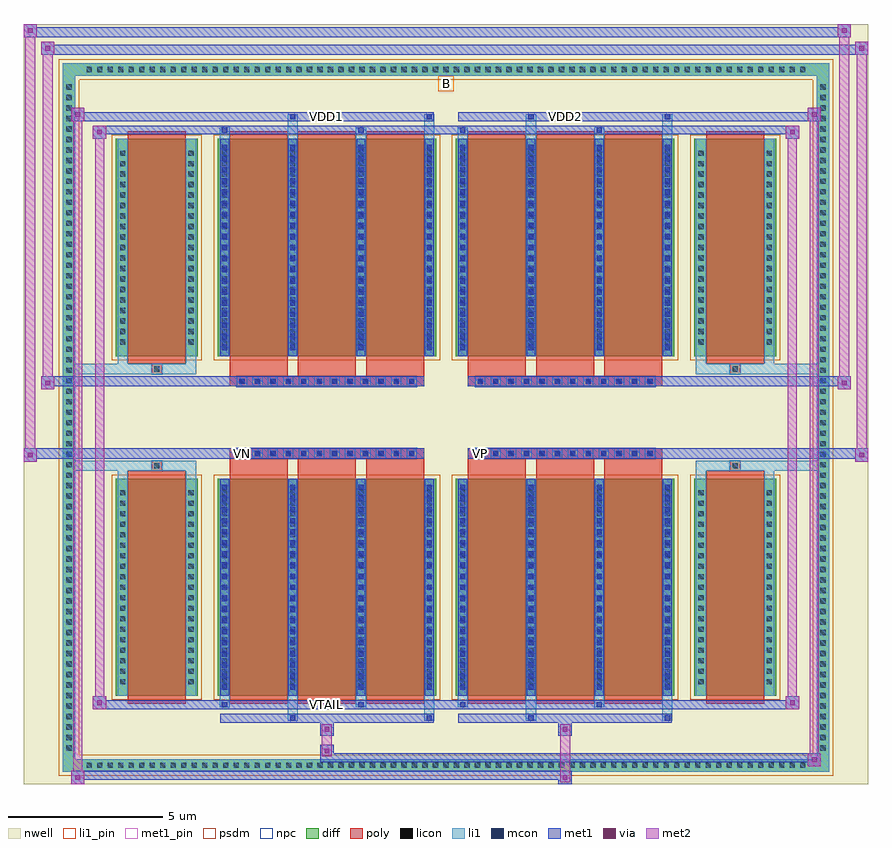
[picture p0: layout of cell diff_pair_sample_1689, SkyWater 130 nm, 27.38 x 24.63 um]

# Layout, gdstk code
import gdstk
lib = gdstk.Library(unit=1e-6, precision=5e-09)
def R(c, l, rs):  # rectangles x0, y0, x1, y1
    for r in rs: c.add(gdstk.rectangle(r[:2], r[2:], *l))
def A(c, l, x, y, w, h, nx, ny, dx, dy):  # array of equal rectangles
    R(c, l, [(x+i*dx, y+j*dy, x+i*dx+w, y+j*dy+h) for i in range(nx) for j in range(ny)])
def P(c, l, *ps):  # polygons
    for p in ps: c.add(gdstk.Polygon(p, *l))
nwell = (64, 20)
diff = (65, 20)
poly = (66, 20)
licon = (66, 44)
li1_pin = (67, 16)
li1 = (67, 20)
mcon = (67, 44)
met1_pin = (68, 16)
met1 = (68, 20)
via = (68, 44)
met2 = (69, 20)
psdm = (94, 20)
npc = (95, 20)

diff_pair_sample_1689 = lib.new_cell('diff_pair_sample_1689')
R(diff_pair_sample_1689, nwell, [(-13.69,-11.88,13.69,12.75), (-11.01,-10.07,-0.01,-0.805), (0.01,-10.07,11.01,-0.805), (-11.01,0.805,-0.01,10.07), (0.01,0.805,11.01,10.07)])
A(diff_pair_sample_1689, diff, -11.765, -11.48, 0.41, 0.41, 69, 2, 0.34, 22.55)
A(diff_pair_sample_1689, diff, -12.42, -10.915, 0.41, 0.41, 1, 64, 0, 0.34)
A(diff_pair_sample_1689, diff, 12.01, -10.915, 0.41, 0.41, 1, 64, 0, 0.34)
R(diff_pair_sample_1689, diff, [(-11.765,-11.48,11.765,-11.07), (-12.42,-10.915,-12.01,10.915), (12.01,-10.915,12.42,10.915), (-10.7,-9.025,-8.04,-1.985), (-7.4,-9.025,-0.32,-1.985), (0.32,-9.025,7.4,-1.985), (8.04,-9.025,10.7,-1.985), (-10.7,1.985,-8.04,9.025), (-7.4,1.985,-0.32,9.025), (0.32,1.985,7.4,9.025), (8.04,1.985,10.7,9.025), (-11.765,11.07,11.765,11.48)])
P(diff_pair_sample_1689, diff, [(12.42,11.48),(-12.42,11.48),(-12.42,-11.07),(-12.01,-11.07),(-12.01,11.07),(12.01,11.07),(12.01,-11.07),(-12.01,-11.07),(-12.42,-11.07),(-12.42,-11.48),(12.42,-11.48)])
A(diff_pair_sample_1689, poly, -7.01, -9.275, 1.88, 7.54, 3, 2, 2.21, 11.01)
A(diff_pair_sample_1689, poly, 0.71, -9.275, 1.88, 7.54, 3, 2, 2.21, 11.01)
A(diff_pair_sample_1689, poly, -7.01, -1.735, 1.88, 0.4, 3, 2, 2.21, 3.07)
A(diff_pair_sample_1689, poly, 0.71, -1.735, 1.88, 0.4, 3, 2, 2.21, 3.07)
A(diff_pair_sample_1689, poly, -6.775, -1.335, 0.33, 0.33, 12, 2, 0.5, 2.34)
A(diff_pair_sample_1689, poly, 0.945, -1.335, 0.33, 0.33, 12, 2, 0.5, 2.34)
R(diff_pair_sample_1689, poly, [(-10.31,-9.275,-8.43,-1.735), (8.43,-9.275,10.31,-1.735), (-9.535,-1.735,-9.205,-1.405), (-9.535,-1.735,-9.205,-1.405), (9.205,-1.735,9.535,-1.405), (9.205,-1.735,9.535,-1.405), (-7.01,-1.335,-0.71,-1.005), (0.71,-1.335,7.01,-1.005), (-7.01,1.005,-0.71,1.335), (0.71,1.005,7.01,1.335), (-9.535,1.405,-9.205,1.735), (-9.535,1.405,-9.205,1.735), (9.205,1.405,9.535,1.735), (9.205,1.405,9.535,1.735), (-10.31,1.735,-8.43,9.275), (8.43,1.735,10.31,9.275)])
A(diff_pair_sample_1689, licon, -11.645, -11.36, 0.17, 0.17, 69, 2, 0.34, 22.55)
A(diff_pair_sample_1689, licon, -12.3, -10.795, 0.17, 0.17, 1, 64, 0, 0.34)
A(diff_pair_sample_1689, licon, 12.13, -10.795, 0.17, 0.17, 1, 64, 0, 0.34)
A(diff_pair_sample_1689, licon, -10.56, -8.65, 0.17, 0.17, 1, 19, 0, 0.34)
A(diff_pair_sample_1689, licon, -8.35, -8.65, 0.17, 0.17, 1, 19, 0, 0.34)
A(diff_pair_sample_1689, licon, -7.26, -8.65, 0.17, 0.17, 4, 19, 2.21, 0.34)
A(diff_pair_sample_1689, licon, 0.46, -8.65, 0.17, 0.17, 4, 19, 2.21, 0.34)
A(diff_pair_sample_1689, licon, 8.18, -8.65, 0.17, 0.17, 1, 19, 0, 0.34)
A(diff_pair_sample_1689, licon, 10.39, -8.65, 0.17, 0.17, 1, 19, 0, 0.34)
A(diff_pair_sample_1689, licon, -6.695, -1.255, 0.17, 0.17, 12, 2, 0.5, 2.34)
A(diff_pair_sample_1689, licon, 1.025, -1.255, 0.17, 0.17, 12, 2, 0.5, 2.34)
A(diff_pair_sample_1689, licon, -10.56, 2.36, 0.17, 0.17, 1, 19, 0, 0.34)
A(diff_pair_sample_1689, licon, -8.35, 2.36, 0.17, 0.17, 1, 19, 0, 0.34)
A(diff_pair_sample_1689, licon, -7.26, 2.36, 0.17, 0.17, 4, 19, 2.21, 0.34)
A(diff_pair_sample_1689, licon, 0.46, 2.36, 0.17, 0.17, 4, 19, 2.21, 0.34)
A(diff_pair_sample_1689, licon, 8.18, 2.36, 0.17, 0.17, 1, 19, 0, 0.34)
A(diff_pair_sample_1689, licon, 10.39, 2.36, 0.17, 0.17, 1, 19, 0, 0.34)
R(diff_pair_sample_1689, licon, [(-9.455,-1.655,-9.285,-1.485), (9.285,-1.655,9.455,-1.485), (-9.455,1.485,-9.285,1.655), (9.285,1.485,9.455,1.655)])
R(diff_pair_sample_1689, li1_pin, [(-0.25,10.57,0.25,11.07)])
A(diff_pair_sample_1689, li1, -11.725, -11.44, 0.33, 0.33, 69, 2, 0.34, 22.55)
A(diff_pair_sample_1689, li1, -12.38, -10.875, 0.33, 0.33, 1, 64, 0, 0.34)
A(diff_pair_sample_1689, li1, 12.05, -10.875, 0.33, 0.33, 1, 64, 0, 0.34)
A(diff_pair_sample_1689, li1, -7.34, -9.025, 0.33, 7.04, 4, 2, 2.21, 11.01)
A(diff_pair_sample_1689, li1, 0.38, -9.025, 0.33, 7.04, 4, 2, 2.21, 11.01)
A(diff_pair_sample_1689, li1, -7.26, -8.83, 0.17, 0.17, 4, 19, 2.21, 0.36)
A(diff_pair_sample_1689, li1, -7.26, -8.83, 0.17, 6.65, 4, 2, 2.21, 11.01)
A(diff_pair_sample_1689, li1, 0.46, -8.83, 0.17, 0.17, 4, 19, 2.21, 0.36)
A(diff_pair_sample_1689, li1, 0.46, -8.83, 0.17, 6.65, 4, 2, 2.21, 11.01)
A(diff_pair_sample_1689, li1, -10.64, -8.73, 0.33, 0.33, 1, 19, 0, 0.34)
A(diff_pair_sample_1689, li1, -8.43, -8.73, 0.33, 0.33, 1, 19, 0, 0.34)
A(diff_pair_sample_1689, li1, -7.34, -8.73, 0.33, 0.33, 4, 19, 2.21, 0.34)
A(diff_pair_sample_1689, li1, 0.38, -8.73, 0.33, 0.33, 4, 19, 2.21, 0.34)
A(diff_pair_sample_1689, li1, 8.1, -8.73, 0.33, 0.33, 1, 19, 0, 0.34)
A(diff_pair_sample_1689, li1, 10.31, -8.73, 0.33, 0.33, 1, 19, 0, 0.34)
A(diff_pair_sample_1689, li1, -6.775, -1.335, 0.33, 0.33, 12, 2, 0.5, 2.34)
A(diff_pair_sample_1689, li1, 0.945, -1.335, 0.33, 0.33, 12, 2, 0.5, 2.34)
A(diff_pair_sample_1689, li1, -7.26, 2.18, 0.17, 0.17, 4, 19, 2.21, 0.36)
A(diff_pair_sample_1689, li1, 0.46, 2.18, 0.17, 0.17, 4, 19, 2.21, 0.36)
A(diff_pair_sample_1689, li1, -10.64, 2.28, 0.33, 0.33, 1, 19, 0, 0.34)
A(diff_pair_sample_1689, li1, -8.43, 2.28, 0.33, 0.33, 1, 19, 0, 0.34)
A(diff_pair_sample_1689, li1, -7.34, 2.28, 0.33, 0.33, 4, 19, 2.21, 0.34)
A(diff_pair_sample_1689, li1, 0.38, 2.28, 0.33, 0.33, 4, 19, 2.21, 0.34)
A(diff_pair_sample_1689, li1, 8.1, 2.28, 0.33, 0.33, 1, 19, 0, 0.34)
A(diff_pair_sample_1689, li1, 10.31, 2.28, 0.33, 0.33, 1, 19, 0, 0.34)
R(diff_pair_sample_1689, li1, [(-12.42,-11.48,-12.01,-11.07), (-12.42,-11.48,-12.01,-11.07), (-12.01,-11.48,12.01,-11.07), (12.01,-11.48,12.42,-11.07), (12.01,-11.48,12.42,-11.07), (-12.42,-11.07,-12.01,11.07), (12.01,-11.07,12.42,11.07), (-5.13,-9.83,-4.8,-9.025), (-5.05,-9.83,-4.88,-9.66), (-0.71,-9.83,-0.38,-9.025), (-0.63,-9.83,-0.46,-9.66), (2.59,-9.83,2.92,-9.025), (2.67,-9.83,2.84,-9.66), (7.01,-9.83,7.34,-9.025), (7.09,-9.83,7.26,-9.66), (-7.34,-9.4,-7.01,-9.025), (-7.26,-9.4,-7.09,-9.23), (-2.92,-9.4,-2.59,-9.025), (-2.84,-9.4,-2.67,-9.23), (0.38,-9.4,0.71,-9.025), (0.46,-9.4,0.63,-9.23), (4.8,-9.4,5.13,-9.025), (4.88,-9.4,5.05,-9.23), (-10.64,-9.025,-10.31,-1.985), (-8.43,-9.025,-8.1,-1.985), (8.1,-9.025,8.43,-1.985), (10.31,-9.025,10.64,-1.985), (-10.64,-1.985,-10.31,-1.405), (-8.43,-1.985,-8.1,-1.405), (8.1,-1.985,8.43,-1.405), (10.31,-1.985,10.64,-1.405), (-12.42,-1.735,-9.535,-1.405), (-10.64,-1.735,-9.535,-1.405), (-9.535,-1.735,-9.205,-1.405), (-9.205,-1.735,-8.1,-1.405), (8.1,-1.735,9.205,-1.405), (9.205,-1.735,9.535,-1.405), (9.205,-1.735,12.42,-1.405), (9.535,-1.735,10.64,-1.405), (-12.42,1.405,-9.535,1.735), (-10.64,1.405,-9.535,1.735), (-10.64,1.405,-10.31,1.985), (-9.535,1.405,-9.205,1.735), (-9.205,1.405,-8.1,1.735), (-8.43,1.405,-8.1,1.985), (8.1,1.405,9.205,1.735), (8.1,1.405,8.43,1.985), (9.205,1.405,9.535,1.735), (9.205,1.405,12.42,1.735), (9.535,1.405,10.64,1.735), (10.31,1.405,10.64,1.985), (-10.64,1.985,-10.31,9.025), (-8.43,1.985,-8.1,9.025), (8.1,1.985,8.43,9.025), (10.31,1.985,10.64,9.025), (-7.34,9.025,-7.01,9.4), (-5.13,9.025,-4.8,9.83), (-2.92,9.025,-2.59,9.4), (-0.71,9.025,-0.38,9.83), (0.38,9.025,0.71,9.4), (2.59,9.025,2.92,9.83), (4.8,9.025,5.13,9.4), (7.01,9.025,7.34,9.83), (-7.26,9.23,-7.09,9.4), (-2.84,9.23,-2.67,9.4), (0.46,9.23,0.63,9.4), (4.88,9.23,5.05,9.4), (-5.05,9.66,-4.88,9.83), (-0.63,9.66,-0.46,9.83), (2.67,9.66,2.84,9.83), (7.09,9.66,7.26,9.83), (-12.42,11.07,-12.01,11.48), (-12.42,11.07,-12.01,11.48), (-12.01,11.07,12.01,11.48), (12.01,11.07,12.42,11.48), (12.01,11.07,12.42,11.48)])
A(diff_pair_sample_1689, mcon, -7.26, -8.83, 0.17, 0.17, 4, 19, 2.21, 0.36)
A(diff_pair_sample_1689, mcon, 0.46, -8.83, 0.17, 0.17, 4, 19, 2.21, 0.36)
A(diff_pair_sample_1689, mcon, -6.695, -1.255, 0.17, 0.17, 12, 2, 0.5, 2.34)
A(diff_pair_sample_1689, mcon, 1.025, -1.255, 0.17, 0.17, 12, 2, 0.5, 2.34)
A(diff_pair_sample_1689, mcon, -7.26, 2.18, 0.17, 0.17, 4, 19, 2.21, 0.36)
A(diff_pair_sample_1689, mcon, 0.46, 2.18, 0.17, 0.17, 4, 19, 2.21, 0.36)
R(diff_pair_sample_1689, mcon, [(-5.05,-9.83,-4.88,-9.66), (-0.63,-9.83,-0.46,-9.66), (2.67,-9.83,2.84,-9.66), (7.09,-9.83,7.26,-9.66), (-7.26,-9.4,-7.09,-9.23), (-2.84,-9.4,-2.67,-9.23), (0.46,-9.4,0.63,-9.23), (4.88,-9.4,5.05,-9.23), (-7.26,9.23,-7.09,9.4), (-2.84,9.23,-2.67,9.4), (0.46,9.23,0.63,9.4), (4.88,9.23,5.05,9.4), (-5.05,9.66,-4.88,9.83), (-0.63,9.66,-0.46,9.83), (2.67,9.66,2.84,9.83), (7.09,9.66,7.26,9.83)])
R(diff_pair_sample_1689, met1_pin, [(-3.995,-9.44,-3.725,-9.17), (-6.745,-1.295,-6.475,-1.025), (0.975,-1.295,1.245,-1.025), (-3.995,9.62,-3.725,9.89), (3.725,9.62,3.995,9.89)])
A(diff_pair_sample_1689, met1, -7.32, -9.025, 0.29, 7.04, 4, 2, 2.21, 11.01)
A(diff_pair_sample_1689, met1, 0.4, -9.025, 0.29, 7.04, 4, 2, 2.21, 11.01)
A(diff_pair_sample_1689, met1, -7.32, -8.89, 0.29, 0.29, 4, 19, 2.21, 0.36)
A(diff_pair_sample_1689, met1, 0.4, -8.89, 0.29, 0.29, 4, 19, 2.21, 0.36)
A(diff_pair_sample_1689, met1, -6.755, -1.315, 0.29, 0.29, 12, 2, 0.5, 2.34)
A(diff_pair_sample_1689, met1, 0.965, -1.315, 0.29, 0.29, 12, 2, 0.5, 2.34)
A(diff_pair_sample_1689, met1, -7.32, 2.12, 0.29, 0.29, 4, 19, 2.21, 0.36)
A(diff_pair_sample_1689, met1, 0.4, 2.12, 0.29, 0.29, 4, 19, 2.21, 0.36)
R(diff_pair_sample_1689, met1, [(-12.15,-11.88,-11.72,-11.45), (3.645,-11.88,4.075,-11.45), (-12.15,-11.74,4.075,-11.45), (11.72,-11.31,12.15,-10.88), (-4.075,-11.17,12.15,-10.88), (-4.075,-11.03,-3.645,-10.6), (-4.075,-10.32,-3.645,-9.89), (3.645,-10.32,4.075,-9.89), (-7.32,-9.89,-0.4,-9.6), (-5.11,-9.89,-4.82,-9.6), (-0.69,-9.89,-0.4,-9.6), (0.4,-9.89,7.32,-9.6), (2.61,-9.89,2.9,-9.6), (7.03,-9.89,7.32,-9.6), (-11.44,-9.46,-11.01,-9.03), (-11.44,-9.46,-7.32,-9.17), (-7.32,-9.46,-7.03,-9.17), (-7.32,-9.46,-0.4,-9.17), (-2.9,-9.46,-2.61,-9.17), (-0.4,-9.46,0.4,-9.17), (0.4,-9.46,0.69,-9.17), (0.4,-9.46,7.32,-9.17), (4.82,-9.46,5.11,-9.17), (7.32,-9.46,11.44,-9.17), (11.01,-9.46,11.44,-9.03), (-13.69,-1.435,-13.26,-1.005), (13.26,-1.435,13.69,-1.005), (-13.69,-1.335,-0.71,-1.005), (-7.01,-1.335,-0.71,-1.005), (0.71,-1.335,7.01,-1.005), (0.71,-1.335,13.69,-1.005), (-13.12,0.905,-12.69,1.335), (12.69,0.905,13.12,1.335), (-13.12,1.005,-7.01,1.335), (-7.01,1.005,-0.71,1.335), (0.71,1.005,7.01,1.335), (7.01,1.005,13.12,1.335), (-11.44,9.03,-11.01,9.46), (11.01,9.03,11.44,9.46), (-11.44,9.17,-7.32,9.46), (-7.32,9.17,-7.03,9.46), (-7.32,9.17,-0.4,9.46), (-2.9,9.17,-2.61,9.46), (-0.4,9.17,0.4,9.46), (0.4,9.17,0.69,9.46), (0.4,9.17,7.32,9.46), (4.82,9.17,5.11,9.46), (7.32,9.17,11.44,9.46), (-12.15,9.6,-11.72,10.03), (-12.15,9.6,-7.32,9.89), (-7.32,9.6,-0.4,9.89), (-5.11,9.6,-4.82,9.89), (-0.69,9.6,-0.4,9.89), (0.4,9.6,7.32,9.89), (2.61,9.6,2.9,9.89), (7.03,9.6,7.32,9.89), (7.32,9.6,12.15,9.89), (11.72,9.6,12.15,10.03), (-13.12,11.75,-12.69,12.18), (-13.12,11.75,-11.01,12.08), (-11.01,11.75,11.01,12.08), (11.01,11.75,13.69,12.08), (13.26,11.75,13.69,12.18), (-13.69,12.32,-13.26,12.75), (-13.69,12.32,-11.01,12.65), (-11.01,12.32,11.01,12.65), (11.01,12.32,13.12,12.65), (12.69,12.32,13.12,12.75)])
R(diff_pair_sample_1689, via, [(-12.01,-11.74,-11.86,-11.59), (3.785,-11.74,3.935,-11.59), (11.86,-11.17,12.01,-11.02), (-3.935,-10.89,-3.785,-10.74), (-3.935,-10.18,-3.785,-10.03), (3.785,-10.18,3.935,-10.03), (-11.3,-9.32,-11.15,-9.17), (11.15,-9.32,11.3,-9.17), (-13.55,-1.295,-13.4,-1.145), (13.4,-1.295,13.55,-1.145), (-12.98,1.045,-12.83,1.195), (12.83,1.045,12.98,1.195), (-11.3,9.17,-11.15,9.32), (11.15,9.17,11.3,9.32), (-12.01,9.74,-11.86,9.89), (11.86,9.74,12.01,9.89), (-12.98,11.89,-12.83,12.04), (13.4,11.89,13.55,12.04), (-13.55,12.46,-13.4,12.61), (12.83,12.46,12.98,12.61)])
R(diff_pair_sample_1689, met2, [(-12.15,-11.88,-11.72,-11.45), (-12.08,-11.88,-11.79,10.03), (-11.79,-11.88,-11.72,-11.45), (-12.1,-11.83,-11.77,-11.5), (3.695,-11.83,4.025,-11.5), (3.695,-11.5,4.025,-10.27), (11.72,-11.31,12.15,-10.88), (11.79,-11.31,12.08,10.03), (12.08,-11.31,12.15,-10.88), (11.77,-11.26,12.1,-10.93), (-4.025,-10.98,-3.695,-10.65), (-4.025,-10.65,-3.695,-10.27), (-4.025,-10.27,-3.695,-9.94), (3.695,-10.27,4.025,-9.94), (-11.44,-9.46,-11.01,-9.03), (-11.37,-9.46,-11.08,9.46), (-11.08,-9.46,-11.01,-9.03), (11.01,-9.46,11.44,-9.03), (11.08,-9.46,11.37,9.46), (11.37,-9.46,11.44,-9.03), (-11.39,-9.41,-11.06,-9.08), (11.06,-9.41,11.39,-9.08), (-13.69,-1.435,-13.26,-1.005), (-13.64,-1.435,-13.31,12.75), (-13.31,-1.435,-13.26,-1.005), (13.26,-1.435,13.69,-1.005), (13.31,-1.435,13.64,12.18), (13.64,-1.435,13.69,-1.005), (-13.64,-1.385,-13.31,-1.055), (13.31,-1.385,13.64,-1.055), (-13.12,0.905,-12.69,1.335), (-13.07,0.905,-12.74,12.18), (-12.74,0.905,-12.69,1.335), (12.69,0.905,13.12,1.335), (12.74,0.905,13.07,12.75), (13.07,0.905,13.12,1.335), (-13.07,0.955,-12.74,1.285), (12.74,0.955,13.07,1.285), (-11.44,9.03,-11.01,9.46), (-11.08,9.03,-11.01,9.46), (11.01,9.03,11.44,9.46), (11.37,9.03,11.44,9.46), (-11.39,9.08,-11.06,9.41), (11.06,9.08,11.39,9.41), (-12.15,9.6,-11.72,10.03), (-11.79,9.6,-11.72,10.03), (11.72,9.6,12.15,10.03), (12.08,9.6,12.15,10.03), (-12.1,9.65,-11.77,9.98), (11.77,9.65,12.1,9.98), (-13.12,11.75,-12.69,12.18), (-12.74,11.75,-12.69,12.18), (13.26,11.75,13.69,12.18), (13.64,11.75,13.69,12.18), (-13.07,11.8,-12.74,12.13), (13.31,11.8,13.64,12.13), (-13.69,12.32,-13.26,12.75), (-13.31,12.32,-13.26,12.75), (12.69,12.32,13.12,12.75), (13.07,12.32,13.12,12.75), (-13.64,12.37,-13.31,12.7), (12.74,12.37,13.07,12.7)])
R(diff_pair_sample_1689, psdm, [(-10.83,-9.155,-7.91,-1.855), (-7.53,-9.155,-0.19,-1.855), (0.19,-9.155,7.53,-1.855), (7.91,-9.155,10.83,-1.855), (-10.83,1.855,-7.91,9.155), (-7.53,1.855,-0.19,9.155), (0.19,1.855,7.53,9.155), (7.91,1.855,10.83,9.155)])
P(diff_pair_sample_1689, psdm, [(12.55,11.61),(-12.55,11.61),(-12.55,-10.94),(-11.88,-10.94),(-11.88,10.94),(11.88,10.94),(11.88,-10.94),(-11.88,-10.94),(-12.55,-10.94),(-12.55,-11.61),(12.55,-11.61)])
A(diff_pair_sample_1689, npc, -6.795, -1.355, 0.37, 0.37, 12, 2, 0.5, 2.34)
A(diff_pair_sample_1689, npc, 0.925, -1.355, 0.37, 0.37, 12, 2, 0.5, 2.34)
R(diff_pair_sample_1689, npc, [(-9.555,-1.755,-9.185,-1.385), (9.185,-1.755,9.555,-1.385), (-6.795,-1.355,-5.925,-0.985), (-6.795,-1.355,-5.925,-0.985), (-6.295,-1.355,-5.425,-0.985), (-6.295,-1.355,-5.425,-0.985), (-5.795,-1.355,-4.925,-0.985), (-5.795,-1.355,-4.925,-0.985), (-5.295,-1.355,-4.425,-0.985), (-5.295,-1.355,-4.425,-0.985), (-4.795,-1.355,-3.925,-0.985), (-4.795,-1.355,-3.925,-0.985), (-4.295,-1.355,-3.425,-0.985), (-4.295,-1.355,-3.425,-0.985), (-3.795,-1.355,-2.925,-0.985), (-3.795,-1.355,-2.925,-0.985), (-3.295,-1.355,-2.425,-0.985), (-3.295,-1.355,-2.425,-0.985), (-2.795,-1.355,-1.925,-0.985), (-2.795,-1.355,-1.925,-0.985), (-2.295,-1.355,-1.425,-0.985), (-2.295,-1.355,-1.425,-0.985), (-1.795,-1.355,-0.925,-0.985), (-1.795,-1.355,-0.925,-0.985), (0.925,-1.355,1.795,-0.985), (0.925,-1.355,1.795,-0.985), (1.425,-1.355,2.295,-0.985), (1.425,-1.355,2.295,-0.985), (1.925,-1.355,2.795,-0.985), (1.925,-1.355,2.795,-0.985), (2.425,-1.355,3.295,-0.985), (2.425,-1.355,3.295,-0.985), (2.925,-1.355,3.795,-0.985), (2.925,-1.355,3.795,-0.985), (3.425,-1.355,4.295,-0.985), (3.425,-1.355,4.295,-0.985), (3.925,-1.355,4.795,-0.985), (3.925,-1.355,4.795,-0.985), (4.425,-1.355,5.295,-0.985), (4.425,-1.355,5.295,-0.985), (4.925,-1.355,5.795,-0.985), (4.925,-1.355,5.795,-0.985), (5.425,-1.355,6.295,-0.985), (5.425,-1.355,6.295,-0.985), (5.925,-1.355,6.795,-0.985), (5.925,-1.355,6.795,-0.985), (-6.795,0.985,-5.925,1.355), (-6.795,0.985,-5.925,1.355), (-6.295,0.985,-5.425,1.355), (-6.295,0.985,-5.425,1.355), (-5.795,0.985,-4.925,1.355), (-5.795,0.985,-4.925,1.355), (-5.295,0.985,-4.425,1.355), (-5.295,0.985,-4.425,1.355), (-4.795,0.985,-3.925,1.355), (-4.795,0.985,-3.925,1.355), (-4.295,0.985,-3.425,1.355), (-4.295,0.985,-3.425,1.355), (-3.795,0.985,-2.925,1.355), (-3.795,0.985,-2.925,1.355), (-3.295,0.985,-2.425,1.355), (-3.295,0.985,-2.425,1.355), (-2.795,0.985,-1.925,1.355), (-2.795,0.985,-1.925,1.355), (-2.295,0.985,-1.425,1.355), (-2.295,0.985,-1.425,1.355), (-1.795,0.985,-0.925,1.355), (-1.795,0.985,-0.925,1.355), (0.925,0.985,1.795,1.355), (0.925,0.985,1.795,1.355), (1.425,0.985,2.295,1.355), (1.425,0.985,2.295,1.355), (1.925,0.985,2.795,1.355), (1.925,0.985,2.795,1.355), (2.425,0.985,3.295,1.355), (2.425,0.985,3.295,1.355), (2.925,0.985,3.795,1.355), (2.925,0.985,3.795,1.355), (3.425,0.985,4.295,1.355), (3.425,0.985,4.295,1.355), (3.925,0.985,4.795,1.355), (3.925,0.985,4.795,1.355), (4.425,0.985,5.295,1.355), (4.425,0.985,5.295,1.355), (4.925,0.985,5.795,1.355), (4.925,0.985,5.795,1.355), (5.425,0.985,6.295,1.355), (5.425,0.985,6.295,1.355), (5.925,0.985,6.795,1.355), (5.925,0.985,6.795,1.355), (-9.555,1.385,-9.185,1.755), (9.185,1.385,9.555,1.755)])
diff_pair_sample_1689.add(gdstk.Label('VTAIL', (-3.86,-9.305), layer=68, texttype=5))
diff_pair_sample_1689.add(gdstk.Label('VN', (-6.61,-1.16), layer=68, texttype=5))
diff_pair_sample_1689.add(gdstk.Label('VP', (1.11,-1.16), layer=68, texttype=5))
diff_pair_sample_1689.add(gdstk.Label('B', (0,10.82), layer=67, texttype=5))
diff_pair_sample_1689.add(gdstk.Label('VDD2', (3.86,9.755), layer=68, texttype=5))
diff_pair_sample_1689.add(gdstk.Label('VDD1', (-3.86,9.755), layer=68, texttype=5))

lib.write_gds('diff_pair_sample_1689.gds')
